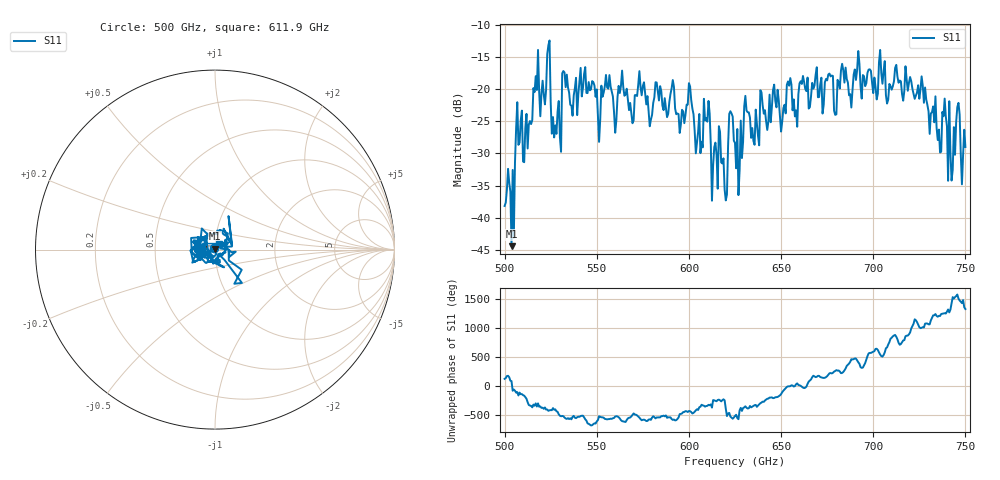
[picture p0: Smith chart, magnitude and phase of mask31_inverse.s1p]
!Created with skrf (http://scikit-rf.org).
# GHz S MA R 50.0
!freq magS11 angS11
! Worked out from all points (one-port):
!   401 points, 500 GHz to 750 GHz, reference 50 ohm
!   lowest |S11| = -44.4 dB at 503.8 GHz (marker M1), VSWR 1.01, Z = 50 + j0.601 ohm
!   |S11| at or under -10 dB: start of sweep to end of sweep
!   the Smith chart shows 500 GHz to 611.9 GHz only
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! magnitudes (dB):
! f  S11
! 500 GHz  -38.2
! 503.8 GHz  -44.4
! 507.5 GHz  -28.7
! 511.2 GHz  -26.0
! 516.9 GHz  -18.0
! 520.6 GHz  -18.7
! 523.8 GHz  -13.2
! 526.9 GHz  -27.5
! 531.2 GHz  -17.6
! 532.5 GHz  -17.4
! 550.6 GHz  -24.2
! 562.5 GHz  -20.6
! 593.8 GHz  -23.8
! 600.6 GHz  -19.6
! 605 GHz  -26.6
! 609.4 GHz  -24.5
! 619.4 GHz  -35.6
! 622.5 GHz  -23.4
! 625 GHz  -28.4
! 656.2 GHz  -23.3
! 687.5 GHz  -20.8
! 691.2 GHz  -17.1
! 718.8 GHz  -20.3
! 735.6 GHz  -26.3
! 738.8 GHz  -21.5
! 741.9 GHz  -29.8
! 745.6 GHz  -22.8
! 750 GHz  -29.0
